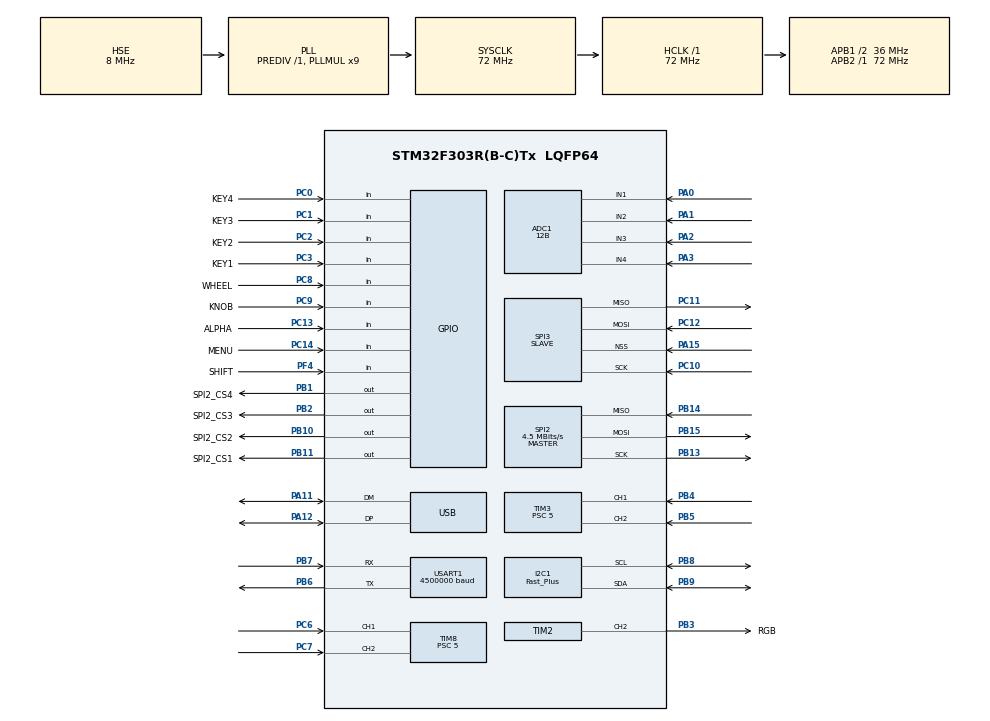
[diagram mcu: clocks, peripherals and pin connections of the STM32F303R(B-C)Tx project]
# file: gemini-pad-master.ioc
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ADC1.Channel-0\#ChannelRegularConversion=ADC_CHANNEL_4
ADC1.Channel-1\#ChannelRegularConversion=ADC_CHANNEL_3
ADC1.Channel-2\#ChannelRegularConversion=ADC_CHANNEL_2
ADC1.Channel-3\#ChannelRegularConversion=ADC_CHANNEL_1
ADC1.ContinuousConvMode=ENABLE
ADC1.DMAContinuousRequests=ENABLE
ADC1.DiscontinuousConvMode=DISABLE
ADC1.EnableInjectedConversion=DISABLE
ADC1.NbrOfConversion=4
ADC1.NbrOfConversionFlag=1
ADC1.Offset-0\#ChannelRegularConversion=0
ADC1.Offset-1\#ChannelRegularConversion=0
ADC1.Offset-2\#ChannelRegularConversion=0
ADC1.Offset-3\#ChannelRegularConversion=0
ADC1.OffsetNumber-0\#ChannelRegularConversion=ADC_OFFSET_NONE
ADC1.OffsetNumber-1\#ChannelRegularConversion=ADC_OFFSET_NONE
ADC1.OffsetNumber-2\#ChannelRegularConversion=ADC_OFFSET_NONE
ADC1.OffsetNumber-3\#ChannelRegularConversion=ADC_OFFSET_NONE
ADC1.Rank-0\#ChannelRegularConversion=1
ADC1.Rank-1\#ChannelRegularConversion=2
ADC1.Rank-2\#ChannelRegularConversion=3
ADC1.Rank-3\#ChannelRegularConversion=4
ADC1.Resolution=ADC_RESOLUTION_12B
ADC1.SamplingTime-0\#ChannelRegularConversion=ADC_SAMPLETIME_601CYCLES_5
ADC1.SamplingTime-1\#ChannelRegularConversion=ADC_SAMPLETIME_601CYCLES_5
ADC1.SamplingTime-2\#ChannelRegularConversion=ADC_SAMPLETIME_601CYCLES_5
ADC1.SamplingTime-3\#ChannelRegularConversion=ADC_SAMPLETIME_601CYCLES_5
ADC1.master=1
Dma.ADC1.3.Direction=DMA_PERIPH_TO_MEMORY
Dma.ADC1.3.Instance=DMA1_Channel1
Dma.ADC1.3.MemDataAlignment=DMA_MDATAALIGN_HALFWORD
Dma.ADC1.3.MemInc=DMA_MINC_ENABLE
Dma.ADC1.3.Mode=DMA_CIRCULAR
Dma.ADC1.3.PeriphDataAlignment=DMA_PDATAALIGN_HALFWORD
Dma.ADC1.3.PeriphInc=DMA_PINC_DISABLE
Dma.ADC1.3.Priority=DMA_PRIORITY_VERY_HIGH
Dma.Request0=USART1_TX
Dma.Request1=USART1_RX
Dma.Request2=TIM2_CH2/CH4
Dma.Request3=ADC1
Dma.Request4=SPI3_RX
Dma.Request5=SPI3_TX
Dma.SPI3_RX.4.Direction=DMA_PERIPH_TO_MEMORY
Dma.SPI3_RX.4.Instance=DMA2_Channel1
Dma.SPI3_RX.4.MemDataAlignment=DMA_MDATAALIGN_BYTE
Dma.SPI3_RX.4.MemInc=DMA_MINC_ENABLE
Dma.SPI3_RX.4.Mode=DMA_CIRCULAR
Dma.SPI3_RX.4.PeriphDataAlignment=DMA_PDATAALIGN_BYTE
Dma.SPI3_RX.4.PeriphInc=DMA_PINC_DISABLE
Dma.SPI3_RX.4.Priority=DMA_PRIORITY_LOW
Dma.SPI3_TX.5.Direction=DMA_MEMORY_TO_PERIPH
Dma.SPI3_TX.5.Instance=DMA2_Channel2
Dma.SPI3_TX.5.MemDataAlignment=DMA_MDATAALIGN_BYTE
Dma.SPI3_TX.5.MemInc=DMA_MINC_ENABLE
Dma.SPI3_TX.5.Mode=DMA_NORMAL
Dma.SPI3_TX.5.PeriphDataAlignment=DMA_PDATAALIGN_BYTE
Dma.SPI3_TX.5.PeriphInc=DMA_PINC_DISABLE
Dma.SPI3_TX.5.Priority=DMA_PRIORITY_LOW
Dma.TIM2_CH2/CH4.2.Direction=DMA_MEMORY_TO_PERIPH
Dma.TIM2_CH2/CH4.2.Instance=DMA1_Channel7
Dma.TIM2_CH2/CH4.2.MemDataAlignment=DMA_MDATAALIGN_BYTE
Dma.TIM2_CH2/CH4.2.MemInc=DMA_MINC_ENABLE
Dma.TIM2_CH2/CH4.2.Mode=DMA_CIRCULAR
Dma.TIM2_CH2/CH4.2.PeriphDataAlignment=DMA_PDATAALIGN_WORD
Dma.TIM2_CH2/CH4.2.PeriphInc=DMA_PINC_DISABLE
Dma.TIM2_CH2/CH4.2.Priority=DMA_PRIORITY_HIGH
Dma.USART1_RX.1.Direction=DMA_PERIPH_TO_MEMORY
Dma.USART1_RX.1.Instance=DMA1_Channel5
Dma.USART1_RX.1.MemDataAlignment=DMA_MDATAALIGN_BYTE
Dma.USART1_RX.1.MemInc=DMA_MINC_ENABLE
Dma.USART1_RX.1.Mode=DMA_NORMAL
Dma.USART1_RX.1.PeriphDataAlignment=DMA_PDATAALIGN_BYTE
Dma.USART1_RX.1.PeriphInc=DMA_PINC_DISABLE
Dma.USART1_RX.1.Priority=DMA_PRIORITY_LOW
Dma.USART1_TX.0.Direction=DMA_MEMORY_TO_PERIPH
Dma.USART1_TX.0.Instance=DMA1_Channel4
Dma.USART1_TX.0.MemDataAlignment=DMA_MDATAALIGN_BYTE
Dma.USART1_TX.0.MemInc=DMA_MINC_ENABLE
Dma.USART1_TX.0.Mode=DMA_NORMAL
Dma.USART1_TX.0.PeriphDataAlignment=DMA_PDATAALIGN_BYTE
Dma.USART1_TX.0.PeriphInc=DMA_PINC_DISABLE
Dma.USART1_TX.0.Priority=DMA_PRIORITY_LOW
I2C1.I2C_Speed_Mode=I2C_Fast_Plus
I2C1.Timing=0x00300D2E
Mcu.Family=STM32F3
Mcu.Name=STM32F303R(B-C)Tx
Mcu.Package=LQFP64
NVIC.DMA1_Channel1_IRQn=true\:0\:0\:false\:false\:true\:false\:true\:true
NVIC.DMA1_Channel4_IRQn=true\:0\:0\:false\:false\:true\:false\:true\:true
NVIC.DMA1_Channel5_IRQn=true\:0\:0\:false\:false\:true\:false\:true\:true
NVIC.DMA1_Channel7_IRQn=true\:0\:0\:false\:false\:true\:false\:true\:true
NVIC.DMA2_Channel1_IRQn=true\:0\:0\:false\:false\:true\:false\:true\:true
NVIC.DMA2_Channel2_IRQn=true\:0\:0\:false\:false\:true\:false\:true\:true
NVIC.PriorityGroup=NVIC_PRIORITYGROUP_4
NVIC.SPI2_IRQn=true\:0\:0\:false\:false\:true\:true\:true\:true
NVIC.SPI3_IRQn=true\:1\:0\:true\:false\:true\:true\:true\:true
NVIC.TIM1_UP_TIM16_IRQn=true\:0\:0\:false\:false\:true\:true\:true\:true
NVIC.TIM3_IRQn=true\:0\:0\:false\:false\:true\:true\:true\:true
NVIC.TIM6_DAC_IRQn=true\:0\:0\:false\:false\:true\:true\:true\:true
NVIC.TIM7_IRQn=true\:0\:0\:false\:false\:true\:true\:true\:true
NVIC.TIM8_BRK_IRQn=true\:0\:0\:false\:false\:true\:true\:true\:true
NVIC.TIM8_CC_IRQn=true\:0\:0\:false\:false\:true\:true\:true\:true
NVIC.TIM8_TRG_COM_IRQn=true\:0\:0\:false\:false\:true\:true\:true\:true
NVIC.TIM8_UP_IRQn=true\:0\:0\:false\:false\:true\:true\:true\:true
NVIC.USART1_IRQn=true\:0\:0\:false\:false\:true\:true\:true\:true
NVIC.USB_LP_CAN_RX0_IRQn=true\:0\:0\:false\:false\:true\:false\:true\:true
PA0.Mode=IN1-Single-Ended
PA0.Signal=ADC1_IN1
PA1.Mode=IN2-Single-Ended
PA1.Signal=ADC1_IN2
PA11.Mode=Device
PA11.Signal=USB_DM
PA12.Mode=Device
PA12.Signal=USB_DP
PA13.Mode=Serial_Wire
PA13.Signal=SYS_JTMS-SWDIO
PA14.Mode=Serial_Wire
PA14.Signal=SYS_JTCK-SWCLK
PA15.GPIO_PuPd=GPIO_PULLUP
PA15.Mode=NSS_Signal_Hard_Input
PA15.Signal=SPI3_NSS
PA2.Mode=IN3-Single-Ended
PA2.Signal=ADC1_IN3
PA3.Mode=IN4-Single-Ended
PA3.Signal=ADC1_IN4
PB1.GPIO_Label=SPI2_CS4
PB1.GPIO_Speed=GPIO_SPEED_FREQ_HIGH
PB1.Signal=GPIO_Output
PB10.GPIO_Label=SPI2_CS2
PB10.GPIO_Speed=GPIO_SPEED_FREQ_HIGH
PB10.Signal=GPIO_Output
PB11.GPIO_Label=SPI2_CS1
PB11.GPIO_Speed=GPIO_SPEED_FREQ_HIGH
PB11.Signal=GPIO_Output
PB13.Mode=Full_Duplex_Master
PB13.Signal=SPI2_SCK
PB14.Mode=Full_Duplex_Master
PB14.Signal=SPI2_MISO
PB15.Mode=Full_Duplex_Master
PB15.Signal=SPI2_MOSI
PB2.GPIO_Label=SPI2_CS3
PB2.GPIO_Speed=GPIO_SPEED_FREQ_HIGH
PB2.Signal=GPIO_Output
PB3.GPIO_Label=RGB
PB3.Signal=S_TIM2_CH2
PB4.Signal=S_TIM3_CH1
PB5.Signal=S_TIM3_CH2
PB6.Mode=Multiprocessor_communication
PB6.Signal=USART1_TX
PB7.Mode=Multiprocessor_communication
PB7.Signal=USART1_RX
PB8.Mode=I2C
PB8.Signal=I2C1_SCL
PB9.Mode=I2C
PB9.Signal=I2C1_SDA
PC0.GPIO_Label=KEY4
PC0.Signal=GPIO_Input
PC1.GPIO_Label=KEY3
PC1.Signal=GPIO_Input
PC10.Mode=Full_Duplex_Slave
PC10.Signal=SPI3_SCK
PC11.Mode=Full_Duplex_Slave
PC11.Signal=SPI3_MISO
PC12.Mode=Full_Duplex_Slave
PC12.Signal=SPI3_MOSI
PC13.GPIO_Label=ALPHA
PC13.Signal=GPIO_Input
PC14-OSC32_IN.GPIO_Label=MENU
PC14-OSC32_IN.Signal=GPIO_Input
PC2.GPIO_Label=KEY2
PC2.Signal=GPIO_Input
PC3.GPIO_Label=KEY1
PC3.Signal=GPIO_Input
PC6.Signal=S_TIM8_CH1
PC7.Signal=S_TIM8_CH2
PC8.GPIO_Label=WHEEL
PC8.Signal=GPIO_Input
PC9.GPIO_Label=KNOB
PC9.Signal=GPIO_Input
PF0-OSC_IN.Mode=HSE-External-Oscillator
PF0-OSC_IN.Signal=RCC_OSC_IN
PF1-OSC_OUT.Mode=HSE-External-Oscillator
PF1-OSC_OUT.Signal=RCC_OSC_OUT
PF4.GPIO_Label=SHIFT
PF4.Signal=GPIO_Input
ProjectManager.HeapSize=0x200
ProjectManager.StackSize=0x400
ProjectManager.TargetToolchain=STM32CubeIDE
RCC.AHBFreq_Value=72000000
RCC.APB1CLKDivider=RCC_HCLK_DIV2
RCC.APB1Freq_Value=36000000
RCC.APB1TimFreq_Value=72000000
RCC.APB2Freq_Value=72000000
RCC.APB2TimFreq_Value=72000000
RCC.CortexFreq_Value=72000000
RCC.HCLKFreq_Value=72000000
RCC.HSE_VALUE=8000000
RCC.HSI_VALUE=8000000
RCC.I2c1ClockSelection=RCC_I2C1CLKSOURCE_SYSCLK
RCC.LSE_VALUE=32768
RCC.PLLMUL=RCC_PLL_MUL9
RCC.PRESCALERUSB=RCC_USBCLKSOURCE_PLL_DIV1_5
RCC.SYSCLKFreq_VALUE=72000000
RCC.SYSCLKSourceVirtual=RCC_SYSCLKSOURCE_PLLCLK
RCC.USBFreq_Value=48000000
SH.S_TIM2_CH2.0=TIM2_CH2,PWM Generation2 CH2
SH.S_TIM3_CH1.0=TIM3_CH1,Encoder_Interface
SH.S_TIM3_CH2.0=TIM3_CH2,Encoder_Interface
SH.S_TIM8_CH1.0=TIM8_CH1,Encoder_Interface
SH.S_TIM8_CH2.0=TIM8_CH2,Encoder_Interface
SPI2.BaudRatePrescaler=SPI_BAUDRATEPRESCALER_8
SPI2.CLKPhase=SPI_PHASE_1EDGE
SPI2.CLKPolarity=SPI_POLARITY_LOW
SPI2.CalculateBaudRate=4.5 MBits/s
SPI2.DataSize=SPI_DATASIZE_8BIT
SPI2.Direction=SPI_DIRECTION_2LINES
SPI2.Mode=SPI_MODE_MASTER
SPI2.VirtualType=VM_MASTER
SPI3.CLKPhase=SPI_PHASE_1EDGE
SPI3.CLKPolarity=SPI_POLARITY_LOW
SPI3.DataSize=SPI_DATASIZE_8BIT
SPI3.Direction=SPI_DIRECTION_2LINES
SPI3.Mode=SPI_MODE_SLAVE
SPI3.VirtualNSS=VM_NSSHARD
SPI3.VirtualType=VM_SLAVE
TIM16.Period=10000-1
TIM16.Prescaler=20-1
TIM2.Channel-PWM\ Generation2\ CH2=TIM_CHANNEL_2
TIM2.CounterMode=TIM_COUNTERMODE_DOWN
TIM2.Period=90-1
TIM3.EncoderMode=TIM_ENCODERMODE_TI12
TIM3.IC1Filter=10
TIM3.IC2Filter=10
TIM3.Period=30
TIM3.Prescaler=5
TIM6.Period=10000-1
TIM6.Prescaler=7200-1
TIM7.Period=10-1
TIM7.Prescaler=7200-1
TIM8.CounterMode=TIM_COUNTERMODE_UP
TIM8.EncoderMode=TIM_ENCODERMODE_TI12
TIM8.IC1Filter=10
TIM8.IC2Filter=10
TIM8.Period=30
TIM8.Prescaler=5
USART1.BaudRate=4500000
USART1.Parity=PARITY_EVEN
USART1.VirtualMode-Multiprocessor_communication=VM_ASYNC
USART1.WordLength=WORDLENGTH_9B
USB.low_power_enable=DISABLE
USB.lpm_enable=DISABLE
USB_DEVICE.CLASS_NAME_FS=CUSTOM_HID
USB_DEVICE.CUSTOM_HID_FS_BINTERVAL=0x1
USB_DEVICE.MANUFACTURER_STRING=Lzq12345
USB_DEVICE.PID_CUSTOMHID_FS=22320
USB_DEVICE.PRODUCT_STRING_CUSTOMHID_FS=Gemini Pad
USB_DEVICE.USBD_CUSTOMHID_OUTREPORT_BUF_SIZE=23
USB_DEVICE.USBD_CUSTOM_HID_REPORT_DESC_SIZE=45
USB_DEVICE.USBD_SELF_POWERED=1
USB_DEVICE.VID=1156
USB_DEVICE.VirtualMode=CustomHid
USB_DEVICE.VirtualModeFS=Custom_Hid_FS
VP_TIM16_VS_ClockSourceINT.Mode=Enable_Timer
VP_TIM2_VS_ClockSourceINT.Mode=Internal
VP_TIM6_VS_ClockSourceINT.Mode=Enable_Timer
VP_TIM7_VS_ClockSourceINT.Mode=Enable_Timer
VP_USB_DEVICE_VS_USB_DEVICE_CUSTOM_HID_FS.Mode=CUSTOM_HID_FS
board=custom

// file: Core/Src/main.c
/* USER CODE BEGIN Header */
/**
  ******************************************************************************
  * @file           : main.c
  * @brief          : Main program body
  ******************************************************************************
  * @attention
  *
  * Copyright (c) 2023 STMicroelectronics.
  * All rights reserved.
  *
  * This software is licensed under terms that can be found in the LICENSE file
  * in the root directory of this software component.
  * If no LICENSE file comes with this software, it is provided AS-IS.
  *
  ******************************************************************************
  */
/* USER CODE END Header */
#include "main.h"
#include "adc.h"
#include "dma.h"
#include "i2c.h"
#include "spi.h"
#include "tim.h"
#include "usart.h"
#include "usb_device.h"
#include "gpio.h"

/* USER CODE BEGIN Includes */
#include "stdbool.h"
#include "stdlib.h"
#include "analog.h"
#include "rgb.h"
#include "keyboard.h"
#include "keyboard_tree.h"
#include "lefl.h"
#include "flash_address.h"
#include "MB85RC16.h"
#include "communication.h"
#include "usbd_custom_hid_if.h"
#include "keyboard_tree.h"

/* USER CODE END Includes */

/* USER CODE BEGIN PV */

uint8_t count=0;
volatile uint8_t cmd_buffer;
volatile bool RGB_Update_Flag=false;
/* USER CODE END PV */

void SystemClock_Config(void);

/* USER CODE BEGIN 0 */
/**
* @brief  初始化时间戳
* @param  �?????
* @retval �?????
* @note   使用延时函数前，必须调用本函�?????
*/
int DWT_Init(void)
{
    /* Disable TRC */
    CoreDebug->DEMCR &= ~CoreDebug_DEMCR_TRCENA_Msk; // ~0x01000000;
    /* Enable TRC */
    CoreDebug->DEMCR |=  CoreDebug_DEMCR_TRCENA_Msk; // 0x01000000;

    /* Disable clock cycle counter */
    DWT->CTRL &= ~DWT_CTRL_CYCCNTENA_Msk; //~0x00000001;
    /* Enable  clock cycle counter */
    DWT->CTRL |=  DWT_CTRL_CYCCNTENA_Msk; //0x00000001;

    /* Reset the clock cycle counter value */
    DWT->CYCCNT = 0;

    /* 3 NO OPERATION instructions */
    __ASM volatile ("NOP");
    __ASM volatile ("NOP");
    __ASM volatile ("NOP");

    /* Check if clock cycle counter has started */
    if(DWT->CYCCNT)
    {
        return 0; /*clock cycle counter started*/
    }
    else
    {
        return 1; /*clock cycle counter not started*/
    }
}
// This Function Provides Delay In Microseconds Using DWT

void DWT_Delay_us(volatile uint32_t au32_microseconds)
{
  uint32_t au32_initial_ticks = DWT->CYCCNT;
  uint32_t au32_ticks = (HAL_RCC_GetHCLKFreq() / 1000000);
  au32_microseconds *= au32_ticks;
  while ((DWT->CYCCNT - au32_initial_ticks) < au32_microseconds-au32_ticks);
}
/* USER CODE END 0 */

int main(void)
{

  /* MCU Configuration--------------------------------------------------------*/

  /* Reset of all peripherals, Initializes the Flash interface and the Systick. */
  HAL_Init();

  /* Configure the system clock */
  SystemClock_Config();

  /* Initialize all configured peripherals */
  MX_GPIO_Init();
  MX_DMA_Init();
  MX_ADC1_Init();
  MX_TIM7_Init();
  MX_TIM8_Init();
  MX_USART1_UART_Init();
  MX_USB_DEVICE_Init();
  MX_TIM6_Init();
  MX_TIM3_Init();
  MX_SPI2_Init();
  MX_I2C1_Init();
  MX_SPI3_Init();
  MX_TIM2_Init();
  MX_TIM16_Init();
  /* USER CODE BEGIN 2 */
  DWT_Init();
  lefl_bit_array_init(&Keyboard_KeyArray, (size_t*)(Keyboard_ReportBuffer+2), 168);
  Keyboard_Init();
  Keyboard_Tree_Init();
  RGB_Init();
  Analog_Recovery();
  RGB_Recovery();

  HAL_ADCEx_Calibration_Start(&hadc1, ADC_SINGLE_ENDED);
  RGB_Start();
  //HAL_TIM_PWM_Start(&htim2,TIM_CHANNEL_2);

  //Analog_Init();
  HAL_GPIO_WritePin(SPI2_CS1_GPIO_Port, SPI2_CS1_Pin, GPIO_PIN_SET);
  HAL_GPIO_WritePin(SPI2_CS2_GPIO_Port, SPI2_CS2_Pin, GPIO_PIN_SET);
  HAL_GPIO_WritePin(SPI2_CS3_GPIO_Port, SPI2_CS3_Pin, GPIO_PIN_SET);
  HAL_GPIO_WritePin(SPI2_CS4_GPIO_Port, SPI2_CS4_Pin, GPIO_PIN_SET);
  RGB_Flash();
  RGB_TurnOff();
  HAL_TIM_Base_Start_IT(&htim6);
  HAL_TIM_Base_Start_IT(&htim7);
  HAL_TIM_Base_Start_IT(&htim16);
  HAL_TIM_Encoder_Start_IT(&htim3,TIM_CHANNEL_1);
  HAL_TIM_Encoder_Start_IT(&htim8,TIM_CHANNEL_1);
  MX_USART1_UART_Init();
  Communication_Enable(&huart1,USART1_RX_Buffer,BUFFER_LENGTH);

  HAL_ADC_Start_DMA(&hadc1, (uint32_t*)ADC_Buffer, ADVANCED_KEY_NUM);
  //HAL_SPI_TransmitReceive_IT(&hspi3, spi_tx1, spi_rx1, 1);
  //HAL_SPI_Receive_IT(&hspi2, spi_rx, 8);

  /* USER CODE END 2 */

  /* Infinite loop */
  /* USER CODE BEGIN WHILE */
  while (1)
  {
      if(cmd_buffer)
      {
          switch (cmd_buffer)
          {
              case CMD_CALIBRATION_START:
                  memset(Keyboard_ReportBuffer,0,sizeof(Keyboard_ReportBuffer)/sizeof(uint8_t));
                  HAL_TIM_Base_Stop_IT(&htim7);
                  HAL_ADC_Stop_DMA(&hadc1);
                  Analog_Init();
                  HAL_TIM_Base_Start_IT(&htim7);
                  HAL_ADC_Start_DMA(&hadc1, (uint32_t*)ADC_Buffer, ADVANCED_KEY_NUM);
                  break;
              case CMD_ANALOG_READ:
                  Analog_Recovery();
                  break;
              case CMD_ID_READ:
                  Keyboard_ID_Recovery();
                  break;
              case CMD_RGB_READ:
                  RGB_Recovery();
                  break;
              case CMD_KEYBOARD_TREE_SCAN:
                  Keyboard_Tree_BaseStatus=KEYBOARD_TNODE_DETECT;
                  break;
              default:
                  break;
          }
          cmd_buffer=CMD_NULL;

      }
      if(RGB_Update_Flag)
      {
          RGB_Update_Flag=false;
          RGB_Update();
      }

      switch(Keyboard_Tree_BaseStatus)
      {
          case KEYBOARD_TNODE_CONNECTED:
              break;
          case KEYBOARD_TNODE_DETECT:
              Keyboard_Tree_Detect();
              break;
          case KEYBOARD_TNODE_READY:
              break;
          case KEYBOARD_TNODE_ACTIVE:
          default:
              break;
      }
    /* USER CODE END WHILE */

  }
}

void SystemClock_Config(void)
{
  RCC_OscInitTypeDef RCC_OscInitStruct = {0};
  RCC_ClkInitTypeDef RCC_ClkInitStruct = {0};
  RCC_PeriphCLKInitTypeDef PeriphClkInit = {0};

  /** Initializes the RCC Oscillators according to the specified parameters
  * in the RCC_OscInitTypeDef structure.
  */
  RCC_OscInitStruct.OscillatorType = RCC_OSCILLATORTYPE_HSE;
  RCC_OscInitStruct.HSEState = RCC_HSE_ON;
  RCC_OscInitStruct.HSEPredivValue = RCC_HSE_PREDIV_DIV1;
  RCC_OscInitStruct.HSIState = RCC_HSI_ON;
  RCC_OscInitStruct.PLL.PLLState = RCC_PLL_ON;
  RCC_OscInitStruct.PLL.PLLSource = RCC_PLLSOURCE_HSE;
  RCC_OscInitStruct.PLL.PLLMUL = RCC_PLL_MUL9;
  if (HAL_RCC_OscConfig(&RCC_OscInitStruct) != HAL_OK)
  {
    Error_Handler();
  }

  /** Initializes the CPU, AHB and APB buses clocks
  */
  RCC_ClkInitStruct.ClockType = RCC_CLOCKTYPE_HCLK|RCC_CLOCKTYPE_SYSCLK
                              |RCC_CLOCKTYPE_PCLK1|RCC_CLOCKTYPE_PCLK2;
  RCC_ClkInitStruct.SYSCLKSource = RCC_SYSCLKSOURCE_PLLCLK;
  RCC_ClkInitStruct.AHBCLKDivider = RCC_SYSCLK_DIV1;
  RCC_ClkInitStruct.APB1CLKDivider = RCC_HCLK_DIV2;
  RCC_ClkInitStruct.APB2CLKDivider = RCC_HCLK_DIV1;

  if (HAL_RCC_ClockConfig(&RCC_ClkInitStruct, FLASH_LATENCY_2) != HAL_OK)
  {
    Error_Handler();
  }
  PeriphClkInit.PeriphClockSelection = RCC_PERIPHCLK_USB|RCC_PERIPHCLK_USART1
                              |RCC_PERIPHCLK_I2C1|RCC_PERIPHCLK_TIM8
                              |RCC_PERIPHCLK_ADC12;
  PeriphClkInit.Usart1ClockSelection = RCC_USART1CLKSOURCE_PCLK2;
  PeriphClkInit.Adc12ClockSelection = RCC_ADC12PLLCLK_DIV1;
  PeriphClkInit.I2c1ClockSelection = RCC_I2C1CLKSOURCE_SYSCLK;
  PeriphClkInit.USBClockSelection = RCC_USBCLKSOURCE_PLL_DIV1_5;
  PeriphClkInit.Tim8ClockSelection = RCC_TIM8CLK_HCLK;
  if (HAL_RCCEx_PeriphCLKConfig(&PeriphClkInit) != HAL_OK)
  {
    Error_Handler();
  }
}

/* USER CODE BEGIN 4 */
void HAL_TIM_PeriodElapsedCallback(TIM_HandleTypeDef *htim)
{
  if (htim->Instance==TIM7)
  {

    Keyboard_Scan();
    switch(Keyboard_Tree_BaseStatus)
    {
        case KEYBOARD_TNODE_CONNECTED:
            break;
        case KEYBOARD_TNODE_DETECT:
            break;
        case KEYBOARD_TNODE_READY:
            break;
        case KEYBOARD_TNODE_ACTIVE:
            Keyboard_Tree_Scan();
            Keyboard_Tree_Report();
            break;
        default:
            break;
    }
    Analog_Average();
    Analog_Check();
    if(!HAL_GPIO_ReadPin(MENU_GPIO_Port, MENU_Pin))
        Keyboard_SendReport();
    Communication_Pack();
    if(eeprom_buzy)
    {
        Communication_Add8(USART1,PROTOCOL_CMD,CMD_EEPROM_DISABLE);
    }
    else
    {
        Communication_Add8(USART1,PROTOCOL_CMD,CMD_EEPROM_ENABLE);
    }
    Communication_USART1_Transmit();

    Analog_Clean();

  }

  if (htim->Instance==TIM6)
  {

  }
  if (htim->Instance==TIM16)
  {
    RGB_Update_Flag=true;
  }
}

/* USER CODE END 4 */

void Error_Handler(void)
{
  __disable_irq();
  while (1)
  {
  }
}
